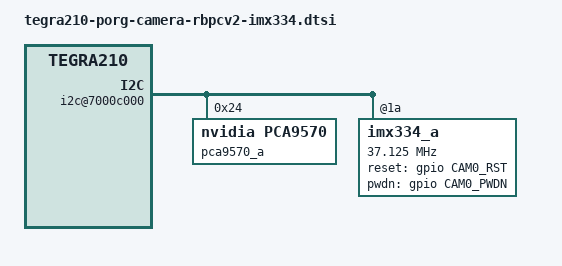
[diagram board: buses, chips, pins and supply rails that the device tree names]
/*
 * tegra210-porg-camera-imx334.dtsi - imx334 sensor device tree
 *
 * Copyright (c) 2019. FRAMOS.  All rights reserved.
 *
 * This program is free software; you can redistribute it and/or modify it
 * under the terms and conditions of the GNU General Public License,
 * version 2, as published by the Free Software Foundation.
 *
 * This program is distributed in the hope it will be useful, but WITHOUT
 * ANY WARRANTY; without even the implied warranty of MERCHANTABILITY or
 * FITNESS FOR A PARTICULAR PURPOSE.  See the GNU General Public License for
 * more details.
 *
 * You should have received a copy of the GNU General Public License
 * along with this program.  If not, see <http://www.gnu.org/licenses/>.
 */

#include "tegra210-camera-rbpcv2-imx334.dtsi"
#include <dt-bindings/clock/tegra210-car.h>

#define CAM0_RST    TEGRA_GPIO(S, 5)
#define CAM0_PWDN   TEGRA_GPIO(T, 0)

/ {
    i2c@7000c000 {
		#address-cells = <1>;
		#size-cells = <0>;
		pca9570_a@24 {
			compatible = "nvidia,pca9570";
			reg = <0x24>;
			channel = "a";
			drive_ic = "DRV8838";
		};

        imx334_a@1a {
	        /* Define any required hw resources needed by driver */
	        /* ie. clocks, io pins, power sources */
			clocks = <&tegra_car TEGRA210_CLK_CLK_OUT_3>;
			clock-names = "clk_out_3";
			mclk = "clk_out_3";
	        clock-frequency = <37125000>;
	        reset-gpios = <&gpio CAM0_RST GPIO_ACTIVE_HIGH>;
            pwdn-gpios = <&gpio CAM0_PWDN GPIO_ACTIVE_HIGH>;
        };
    };
};
